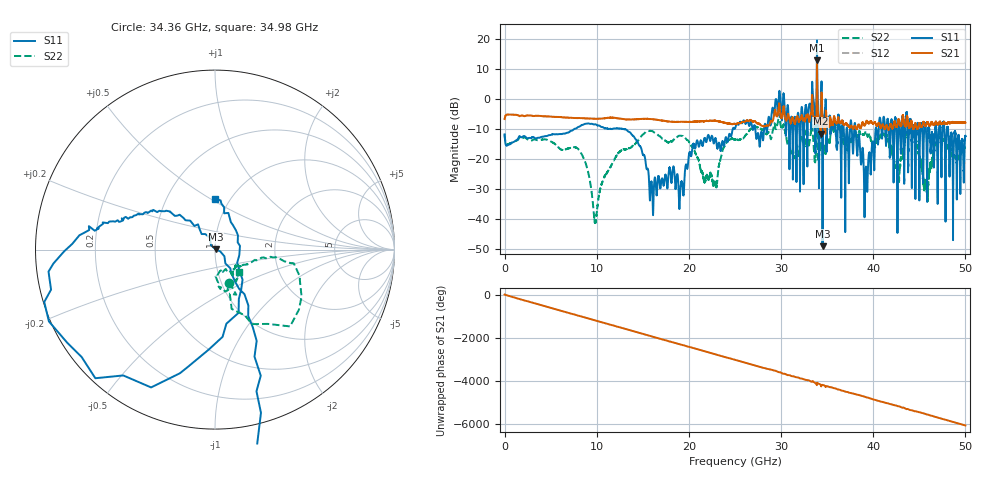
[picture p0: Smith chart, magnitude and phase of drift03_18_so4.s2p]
!Created with skrf (http://scikit-rf.org).
# Hz S RI R 50.0
!freq ReS11 ImS11 ReS21 ImS21 ReS12 ImS12 ReS22 ImS22
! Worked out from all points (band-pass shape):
!   10001 points, 300 kHz to 50 GHz, reference 50 ohm
!   highest |S21| = 13.00 dB at 33.9 GHz (marker M1); lowest = -11.5 dB at 34.32 GHz (marker M2)
!   |S21| within 3 dB of the highest: 33.89045 GHz to 33.90541 GHz (14.96 MHz wide, 0.0441 % of centre)
!   lowest |S11| = -48.9 dB at 34.5 GHz (marker M3), VSWR 1.01, Z = 50.3 + j0.142 ohm
!   |S11| at or under -10 dB: start of sweep to 7.488 GHz; 13.14 GHz to 24.74 GHz (11.6 GHz wide, 61.3 % of centre); 38.09 GHz to 40.26 GHz (2.17 GHz wide, 5.54 % of centre) (the widest 3 of 50)
!   |S22| runs from -41.3 to 5.4 dB; largest |S21 - S12| = 0.33
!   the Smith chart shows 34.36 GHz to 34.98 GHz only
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300000  -0.2346 -0.1166  0.4658 0.076  0.4642 0.079  -0.2345 -0.1214
1.440291e9  0.2097 0.0648  -0.5476 -0.0294  -0.5479 -0.0291  0.2111 -0.00436
2.915283e9  -0.2118 -0.0877  0.5341 0.0513  0.5348 0.0515  -0.2024 0.0399
4.415274e9  0.2062 0.1321  -0.5217 -0.0417  -0.5218 -0.0417  0.1975 -0.0874
8.33525e9  0.2885 -0.2336  0.147 0.4654  0.1466 0.4661  -0.0731 -0.1007
9.850241e9  -0.362 0.132  -0.153 -0.45  -0.1532 -0.4502  0.00842 0.00217
1.115523e10  0.3168 0.0817  -0.0428 0.4905  -0.0428 0.4904  -0.0475 0.0391
1.263522e10  -0.3124 -0.0944  0.0291 -0.4739  0.0295 -0.4752  0.0761 -0.118
1.66702e10  0.0271 0.0443  -0.3774 0.2541  -0.3778 0.2544  -0.1268 -0.2184
1.787019e10  0.0678 -0.0243  0.4288 0.0153  0.428 0.0155  -0.0373 0.1918
2.281016e10  0.000576 0.2135  -0.2819 0.3427  -0.2825 0.3436  -0.0341 0.0265
2.500015e10  -0.3261 -0.014  -0.2556 -0.2958  -0.2544 -0.2975  -0.2114 0.0269
2.895013e10  -0.3196 0.4224  -0.2911 0.3252  -0.3021 0.2878  0.063 0.2185
3.006512e10  0.3995 0.2635  0.4487 -0.1981  0.4508 -0.1846  0.1715 -0.2993
3.171011e10  -0.0919 0.1872  -0.359 0.3599  -0.3572 0.3558  0.0649 0.1577
3.33351e10  0.6109 -0.815  0.2431 -0.84  0.2442 -0.8184  -0.1931 -0.4151
3.38951e10  -2.562 -9.29  -4.384 0.8494  -4.098 1.016  0.5195 1.785
3.432009e10  -0.7788 0.000836  -0.1804 0.1971  -0.2416 0.1782  0.1444 -0.0709
3.450009e10  0.00329 0.00141  -0.4487 0.2957  -0.416 0.2754  0.1913 -0.0764
3.920006e10  0.0705 0.0136  0.1941 -0.3636  0.201 -0.3556  -0.2731 -0.1167
4.167005e10  -0.1965 0.3026  0.3128 0.0035  0.3127 0.0102  -0.1912 -0.00998
5e10  -0.1268 -0.2103  0.146 0.3844  0.1475 0.3811  -0.056 -0.1442
